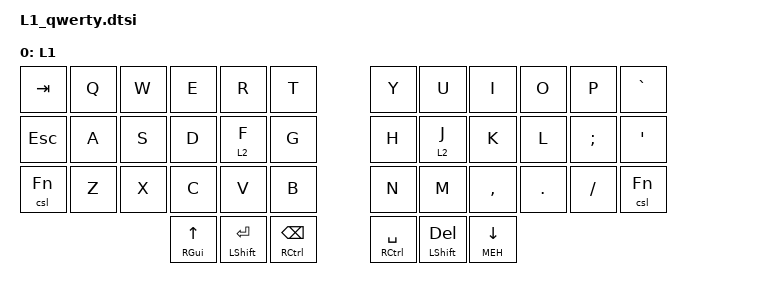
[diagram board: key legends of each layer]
/ {
  keymap {
    compatible = "zmk,keymap";

    layer_1 {
      label = "L1";
      bindings = <
// ╭───────────────┬───────────────┬───────────────┬───────────────┬───────────────┬───────────────╮   ╭───────────────┬───────────────┬───────────────┬───────────────┬───────────────┬───────────────╮
//  0               1               2               3               4               5                   6               7               8               9               10              11
    &kp TAB         &kp Q           &kp W           &kp E           &kp R           &kp T               &kp Y           &kp U           &kp I           &kp O           &kp P           &kp GRAVE
// ├───────────────├───────────────┼───────────────┼───────────────┼───────────────┼───────────────┤   ├───────────────├───────────────┼───────────────┼───────────────┼───────────────┼───────────────┤
//  12              13              14              15              16              17                  18              19              20              21              22              23
    &kp ESC         &kp A           &kp S           &kp D           &lt L2 F        &kp G               &kp H           &lt L2 J        &kp K           &kp L           &kp SEMI        &kp SQT
// ├───────────────├───────────────┼───────────────┼───────────────┼───────────────┼───────────────┤   ├───────────────├───────────────┼───────────────┼───────────────┼───────────────┼───────────────┤
//  24              25              26              27              28              29                  30              31              32              33              34              35
    &csl Fn         &kp Z           &kp X           &kp C           &kp V           &kp B               &kp N           &kp M           &kp COMMA       &kp DOT         &kp FSLH        &csl Fn
// ╰───────────────┴───────────────┴───────────────┼───────────────┼───────────────┼───────────────┤   ├───────────────├───────────────┼───────────────┼───────────────┴───────────────┴───────────────╯
//                                                  36              37              38                  39              40              41
                                                    &mt RGUI UP     &mt LSHFT ENTER &mt RCTRL BSPC      &mt RCTRL SPACE &mt LSHFT DELETE &mt MEH DOWN
//                                                 ╰───────────────┴───────────────┴───────────────╯   ╰───────────────┴───────────────┴───────────────╯
      >;
    };
  };
};
